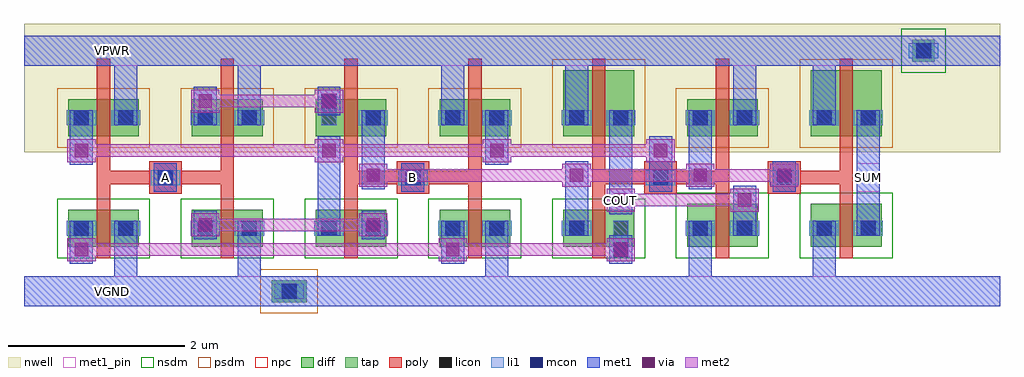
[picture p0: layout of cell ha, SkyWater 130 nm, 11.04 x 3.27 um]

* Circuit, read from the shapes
.subckt ha A B COUT SUM VGND VPWR
XM1 VGND A n1 VGND sky130_fd_pr__nfet_01v8 w=0.42 l=0.15
XM2 VGND A n2 VGND sky130_fd_pr__nfet_01v8 w=0.42 l=0.15
XM3 n2 B n3 VGND sky130_fd_pr__nfet_01v8 w=0.42 l=0.15
XM4 VGND B n1 VGND sky130_fd_pr__nfet_01v8 w=0.42 l=0.15
XM5 n1 n3 n4 VGND sky130_fd_pr__nfet_01v8 w=0.42 l=0.15
XM6 COUT n3 VGND VGND sky130_fd_pr__nfet_01v8 w=0.49 l=0.15
XM7 SUM n4 VGND VGND sky130_fd_pr__nfet_01v8 w=0.49 l=0.15
XM8 VPWR A n3 VPWR sky130_fd_pr__pfet_01v8 w=0.42 l=0.15
XM9 VPWR A n5 VPWR sky130_fd_pr__pfet_01v8 w=0.42 l=0.15
XM10 n4 B n5 VPWR sky130_fd_pr__pfet_01v8 w=0.42 l=0.15
XM11 n3 B VPWR VPWR sky130_fd_pr__pfet_01v8 w=0.42 l=0.15
XM12 COUT n3 VPWR VPWR sky130_fd_pr__pfet_01v8 w=0.75 l=0.15
XM13 VPWR n3 n4 VPWR sky130_fd_pr__pfet_01v8 w=0.42 l=0.15
XM14 SUM n4 VPWR VPWR sky130_fd_pr__pfet_01v8 w=0.75 l=0.15
.ends

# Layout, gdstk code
import gdstk
lib = gdstk.Library(unit=1e-6, precision=1e-09)
def R(c, l, rs):  # rectangles x0, y0, x1, y1
    for r in rs: c.add(gdstk.rectangle(r[:2], r[2:], *l))
def A(c, l, x, y, w, h, nx, ny, dx, dy):  # array of equal rectangles
    R(c, l, [(x+i*dx, y+j*dy, x+i*dx+w, y+j*dy+h) for i in range(nx) for j in range(ny)])
nwell = (64, 20)
diff = (65, 20)
tap = (65, 44)
poly = (66, 20)
licon = (66, 44)
li1 = (67, 20)
mcon = (67, 44)
met1_pin = (68, 16)
met1 = (68, 20)
via = (68, 44)
met2 = (69, 20)
nsdm = (93, 44)
psdm = (94, 20)
npc = (95, 20)

c_ha = lib.new_cell('ha')
R(c_ha, nwell, [(0,1.57,11.04,3.025)])
A(c_ha, diff, 0.5, 0.5, 0.8, 0.42, 5, 1, 1.4, 0)
A(c_ha, diff, 0.5, 1.75, 0.8, 0.42, 4, 1, 1.4, 0)
R(c_ha, diff, [(2.8,-0.125,3.2,0.125), (7.5,0.5,8.3,0.99), (8.9,0.5,9.7,0.99), (6.1,1.75,6.9,2.5), (7.5,1.75,8.3,2.17), (8.9,1.75,9.7,2.5), (10.05,2.595,10.3,2.845)])
R(c_ha, tap, [(2.8,-0.125,3.2,0.125), (10.05,2.595,10.3,2.845)])
A(c_ha, poly, 0.825, 0.37, 0.15, 2.26, 7, 1, 1.4, 0)
A(c_ha, poly, 1.415, 1.1, 0.37, 0.37, 3, 1, 2.8, 0)
A(c_ha, poly, 0.825, 1.208, 1.55, 0.154, 3, 1, 2.8, 0)
R(c_ha, poly, [(8.415,1.1,8.785,1.47), (8.6,1.208,9.375,1.362)])
A(c_ha, licon, 1.515, 1.2, 0.17, 0.17, 3, 1, 2.8, 0)
R(c_ha, licon, [(2.915,-0.085,3.085,0.085), (0.565,0.625,0.735,0.795), (1.065,0.625,1.235,0.795), (1.965,0.625,2.135,0.795), (2.465,0.625,2.635,0.795), (3.365,0.625,3.535,0.795), (3.865,0.625,4.035,0.795), (4.765,0.625,4.935,0.795), (5.265,0.625,5.435,0.795), (6.165,0.625,6.335,0.795), (6.665,0.625,6.835,0.795), (7.565,0.625,7.735,0.795), (8.065,0.625,8.235,0.795), (8.965,0.625,9.135,0.795), (9.465,0.625,9.635,0.795), (8.515,1.2,8.685,1.37), (0.565,1.875,0.735,2.045), (1.065,1.875,1.235,2.045), (1.965,1.875,2.135,2.045), (2.465,1.875,2.635,2.045), (3.365,1.875,3.535,2.045), (3.865,1.875,4.035,2.045), (4.765,1.875,4.935,2.045), (5.265,1.875,5.435,2.045), (6.165,1.875,6.335,2.045), (6.665,1.875,6.835,2.045), (7.565,1.875,7.735,2.045), (8.065,1.875,8.235,2.045), (8.965,1.875,9.135,2.045), (9.465,1.875,9.635,2.045), (10.09,2.635,10.26,2.805)])
A(c_ha, li1, 1.435, 1.2, 0.33, 0.17, 3, 1, 2.8, 0)
R(c_ha, li1, [(2.835,-0.085,3.165,0.085), (6.665,0.385,6.835,0.795), (0.485,0.625,0.815,0.795), (0.985,0.625,1.315,0.795), (1.885,0.625,2.215,0.795), (2.385,0.625,2.715,0.795), (3.285,0.625,3.615,0.795), (3.785,0.625,4.115,0.795), (4.685,0.625,5.015,0.795), (5.185,0.625,5.515,0.795), (6.085,0.625,6.415,0.795), (7.485,0.625,7.815,0.795), (7.985,0.625,8.315,0.795), (8.885,0.625,9.215,0.795), (9.385,0.625,9.715,0.795), (8.435,1.2,8.765,1.37), (0.485,1.875,0.815,2.045), (0.985,1.875,1.315,2.045), (1.885,1.875,2.215,2.045), (2.385,1.875,2.715,2.045), (3.365,1.875,3.535,2.235), (3.785,1.875,4.115,2.045), (4.685,1.875,5.015,2.045), (5.185,1.875,5.515,2.045), (6.085,1.875,6.415,2.045), (6.585,1.875,6.915,2.045), (7.485,1.875,7.815,2.045), (7.985,1.875,8.315,2.045), (8.885,1.875,9.215,2.045), (9.385,1.875,9.715,2.045), (10.01,2.635,10.34,2.805)])
A(c_ha, mcon, 1.515, 1.2, 0.17, 0.17, 3, 1, 2.8, 0)
R(c_ha, mcon, [(2.915,-0.085,3.085,0.085), (6.665,0.385,6.835,0.555), (0.565,0.625,0.735,0.795), (1.065,0.625,1.235,0.795), (1.965,0.625,2.135,0.795), (2.465,0.625,2.635,0.795), (3.365,0.625,3.535,0.795), (3.865,0.625,4.035,0.795), (4.765,0.625,4.935,0.795), (5.265,0.625,5.435,0.795), (6.165,0.625,6.335,0.795), (7.565,0.625,7.735,0.795), (8.065,0.625,8.235,0.795), (8.965,0.625,9.135,0.795), (9.465,0.625,9.635,0.795), (8.515,1.2,8.685,1.37), (0.565,1.875,0.735,2.045), (1.065,1.875,1.235,2.045), (1.965,1.875,2.135,2.045), (2.465,1.875,2.635,2.045), (3.865,1.875,4.035,2.045), (4.765,1.875,4.935,2.045), (5.265,1.875,5.435,2.045), (6.165,1.875,6.335,2.045), (6.665,1.875,6.835,2.045), (7.565,1.875,7.735,2.045), (8.065,1.875,8.235,2.045), (8.965,1.875,9.135,2.045), (9.465,1.875,9.635,2.045), (3.365,2.065,3.535,2.235), (10.09,2.635,10.26,2.805)])
R(c_ha, met1_pin, [(0,-0.17,11.04,0.17), (6.62,0.87,6.88,1.19), (1.47,1.125,1.73,1.445), (4.27,1.125,4.53,1.445), (9.42,1.125,9.68,1.445), (0,2.55,11.04,2.89)])
R(c_ha, met1, [(0,-0.17,11.04,0.17), (1.02,0,1.28,0.795), (2.42,0,2.68,0.795), (5.22,0,5.48,0.795), (7.52,0,7.78,0.795), (8.92,0,9.18,0.795), (0.52,0.31,0.78,0.795), (4.72,0.31,4.98,0.795), (6.62,0.31,6.88,0.63), (1.92,0.59,2.18,0.91), (3.82,0.59,4.08,0.91), (3.32,0.625,3.58,1.75), (6.12,0.625,6.38,1.47), (8.02,0.625,8.28,1.19), (9.42,0.625,9.68,2.045), (9.42,0.625,9.68,2.045), (6.62,0.87,6.88,2.045), (1.47,1.125,1.73,1.445), (4.27,1.125,4.53,1.445), (7.07,1.125,7.33,1.75), (8.47,1.125,8.73,1.47), (3.82,1.15,4.08,2.045), (7.52,1.15,7.78,2.045), (0.52,1.43,0.78,2.045), (5.22,1.43,5.48,2.045), (1.02,1.875,1.28,2.89), (1.92,1.875,2.18,2.31), (2.42,1.875,2.68,2.89), (4.72,1.875,4.98,2.89), (6.12,1.875,6.38,2.89), (8.02,1.875,8.28,2.89), (8.92,1.875,9.18,2.89), (3.32,1.99,3.58,2.31), (0,2.55,11.04,2.89)])
R(c_ha, via, [(0.575,0.395,0.725,0.545), (4.775,0.395,4.925,0.545), (6.675,0.395,6.825,0.545), (1.975,0.675,2.125,0.825), (3.875,0.675,4.025,0.825), (6.675,0.955,6.825,1.105), (8.075,0.955,8.225,1.105), (3.875,1.235,4.025,1.385), (6.175,1.235,6.325,1.385), (7.575,1.235,7.725,1.385), (8.525,1.235,8.675,1.385), (0.575,1.515,0.725,1.665), (3.375,1.515,3.525,1.665), (5.275,1.515,5.425,1.665), (7.125,1.515,7.275,1.665), (1.975,2.075,2.125,2.225), (3.375,2.075,3.525,2.225)])
R(c_ha, met2, [(0.49,0.34,0.81,0.6), (4.69,0.34,5.01,0.6), (6.59,0.34,6.91,0.6), (0.49,0.4,6.91,0.54), (1.89,0.62,2.21,0.88), (3.79,0.62,4.11,0.88), (1.89,0.68,4.11,0.82), (6.59,0.9,6.91,1.16), (7.99,0.9,8.31,1.16), (6.59,0.96,8.31,1.1), (3.79,1.18,4.11,1.44), (6.09,1.18,6.41,1.44), (7.49,1.18,7.81,1.44), (8.44,1.18,8.76,1.44), (3.79,1.24,8.76,1.38), (0.49,1.46,0.81,1.72), (3.29,1.46,3.61,1.72), (5.19,1.46,5.51,1.72), (7.04,1.46,7.36,1.72), (0.49,1.52,7.36,1.66), (1.89,2.02,2.21,2.28), (3.29,2.02,3.61,2.28), (1.89,2.08,3.61,2.22)])
A(c_ha, nsdm, 0.375, 0.375, 1.05, 0.67, 5, 1, 1.4, 0)
R(c_ha, nsdm, [(7.375,0.375,8.425,1.115), (8.775,0.375,9.825,1.115), (9.925,2.47,10.425,2.97)])
A(c_ha, psdm, 0.375, 1.625, 1.05, 0.67, 4, 1, 1.4, 0)
R(c_ha, psdm, [(2.675,-0.25,3.325,0.25), (5.975,1.625,7.025,2.625), (7.375,1.625,8.425,2.295), (8.775,1.625,9.825,2.625)])
A(c_ha, npc, 1.415, 1.1, 0.37, 0.37, 3, 1, 2.8, 0)
R(c_ha, npc, [(8.415,1.1,8.785,1.47)])
c_ha.add(gdstk.Label('VGND', (1,0), layer=68, texttype=5))
c_ha.add(gdstk.Label('VPWR', (1,2.72), layer=68, texttype=5))
c_ha.add(gdstk.Label('A', (1.6,1.285), layer=68, texttype=5))
c_ha.add(gdstk.Label('B', (4.4,1.285), layer=68, texttype=5))
c_ha.add(gdstk.Label('COUT', (6.75,1.03), layer=68, texttype=5))
c_ha.add(gdstk.Label('SUM', (9.55,1.285), layer=68, texttype=5))
c_ha.add(gdstk.Label('VGND', (1,0), layer=68, texttype=16))
c_ha.add(gdstk.Label('VPWR', (1,2.72), layer=68, texttype=16))
c_ha.add(gdstk.Label('A', (1.6,1.285), layer=68, texttype=16))
c_ha.add(gdstk.Label('B', (4.4,1.285), layer=68, texttype=16))
c_ha.add(gdstk.Label('COUT', (6.75,1.03), layer=68, texttype=16))
c_ha.add(gdstk.Label('SUM', (9.55,1.285), layer=68, texttype=16))

lib.write_gds('ha.gds')
